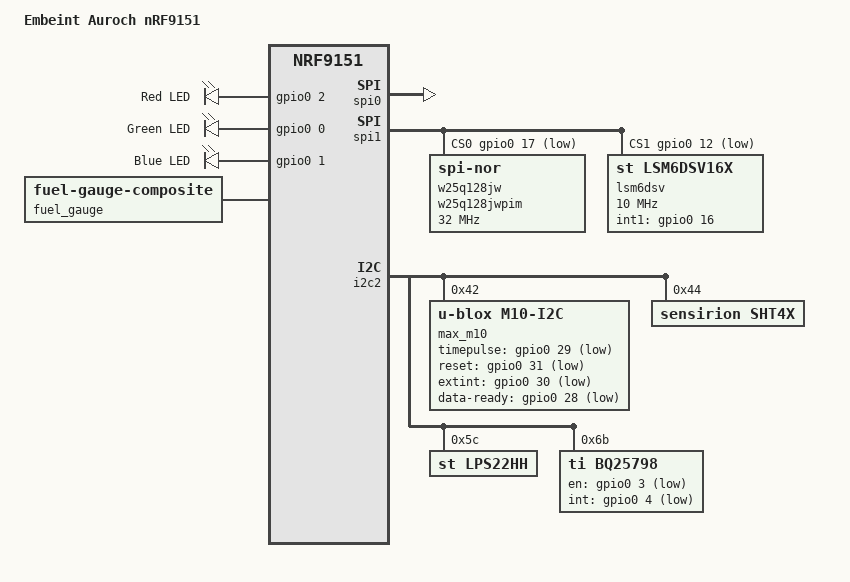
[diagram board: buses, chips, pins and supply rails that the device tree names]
/*
 * Copyright (c) 2025 Embeint Holdings Pty Ltd
 *
 * SPDX-License-Identifier: Apache-2.0
 */

#include "auroch_nrf9151_common-pinctrl.dtsi"
#include <zephyr/dt-bindings/battery/battery.h>
#include <zephyr/dt-bindings/input/input-event-codes.h>
#include <zephyr/dt-bindings/sensor/lps22hh.h>

/ {
	model = "Embeint Auroch nRF9151";
	compatible = "embeint,auroch-nrf9151";

	chosen {
		zephyr,console = &rtt0;
		zephyr,bt-hci = &hci_spi;
	};

	rtt0: rtt_chan0 {
		compatible = "segger,rtt-uart";
		status = "okay";
	};

	leds {
		compatible = "gpio-leds";
		led0: led_0 {
			gpios = <&gpio0 2 GPIO_ACTIVE_HIGH>;
			label = "Red LED";
		};
		led1: led_1 {
			gpios = <&gpio0 0 GPIO_ACTIVE_HIGH>;
			label = "Green LED";
		};
		led2: led_2 {
			gpios = <&gpio0 1 GPIO_ACTIVE_HIGH>;
			label = "Blue LED";
		};
	};

	fuel_gauge: fuel_gauge {
		compatible = "zephyr,fuel-gauge-composite";
		source-primary = <&bq25798>;
		device-chemistry = "lithium-ion-polymer";
		ocv-capacity-table-0 = <BATTERY_OCV_CURVE_LITHIUM_ION_POLYMER_DEFAULT>;
		charge-full-design-microamp-hours = <13400000>;
		fuel-gauge-channels;
	};

	aliases {
		led0 = &led0;
		led1 = &led1;
		led2 = &led2;
		fuel-gauge0 = &fuel_gauge;
		imu0 = &lsm6dsv;
		gnss = &max_m10;
		watchdog0 = &wdt0;
		environmental0 = &sht4x;
		environmental1 = &lps22hh;
	};
};

&gpiote {
	status = "okay";
};

&gpio0 {
	status = "okay";
	/* Every pin except the GNSS timepulse interrupt */
	sense-edge-mask = <0xdfffffff>;
};

&spi0 {
	compatible = "nordic,nrf-spim";
	status = "okay";
	cs-gpios = <&gpio0 22 GPIO_ACTIVE_LOW>;
	pinctrl-0 = <&spi0_default>;
	pinctrl-1 = <&spi0_sleep>;
	pinctrl-names = "default", "sleep";

	/* Nordic nRF54L15 (Ezurio BL54L15) */
	hci_spi: hci_node: bt-hci@0 {
		compatible = "zephyr,bt-hci-spi";
		reg = <0>;
		spi-max-frequency = <8000000>;
		reset-gpios = <&gpio0 20 (GPIO_ACTIVE_LOW)>;
		irq-gpios = <&gpio0 21 (GPIO_ACTIVE_HIGH | GPIO_PULL_DOWN)>;
		reset-assert-duration-ms = <1>;
		spi-cs-setup-delay-ns = <10000>;
		/* Additional GPIO is available here:
		 * extra-gpios = <&gpio0 19 0>;
		 */
	};
};

&spi1 {
	compatible = "nordic,nrf-spim";
	status = "okay";
	cs-gpios = <&gpio0 17 (GPIO_ACTIVE_LOW | GPIO_OPEN_DRAIN)>,
		   <&gpio0 12 (GPIO_ACTIVE_LOW | GPIO_OPEN_DRAIN)>;
	pinctrl-0 = <&spi1_default>;
	pinctrl-1 = <&spi1_sleep>;
	pinctrl-names = "default", "sleep";

	w25q128jw: w25q128jwpim@0 {
		compatible = "jedec,spi-nor";
		status = "okay";
		reg = <0>;
		spi-max-frequency = <32000000>;
		size = <134217728>;
		has-dpd;
		t-enter-dpd = <3000>;
		t-exit-dpd = <20000>;
		jedec-id = [ef 80 18];
	};

	lsm6dsv: lsm6dsv@1 {
		compatible = "st,lsm6dsv16x";
		status = "okay";
		reg = <1>;
		spi-max-frequency = <10000000>;
		int1-gpios = <&gpio0 16 GPIO_ACTIVE_HIGH>;
	};
};

&i2c2 {
	compatible = "nordic,nrf-twim";
	status = "okay";
	pinctrl-0 = <&i2c2_default>;
	pinctrl-1 = <&i2c2_sleep>;
	pinctrl-names = "default", "sleep";

	max_m10: max_m10@42 {
		compatible = "u-blox,m10-i2c";
		status = "okay";
		reg = <0x42>;
		timepulse-gpios = <&gpio0 29 GPIO_ACTIVE_LOW>;
		reset-gpios = <&gpio0 31 GPIO_ACTIVE_LOW>;
		extint-gpios = <&gpio0 30 GPIO_ACTIVE_LOW>;
		data-ready-gpios = <&gpio0 28 GPIO_ACTIVE_LOW>;
		data-ready-pio = <1>;
	};

	sht4x: sht4x@44 {
		compatible = "sensirion,sht4x";
		status = "okay";
		reg = <0x44>;
		repeatability = <2>;
	};

	lps22hh: lps22hh@5c {
		compatible = "st,lps22hh";
		status = "okay";
		reg = <0x5c>;
		odr = <LPS22HH_DT_ODR_POWER_DOWN>;
	};

	bq25798: bq25798@6b {
		compatible = "ti,bq25798";
		status = "okay";
		reg = <0x6b>;
		en-gpios = <&gpio0 3 GPIO_ACTIVE_LOW>;
		int-gpios = <&gpio0 4 (GPIO_ACTIVE_LOW | GPIO_PULL_UP)>;
		ts-rt1 = <5240>;
		ts-rt2 = <30310>;
		mppt-ratio = <81>;
		vac-ovp = <26>;
		input-current-limit = <999>;
		v-in-dpm = <3000>;
		acdrv1-en;
		acdrv2-en;
	};
};

/* Include default memory partition configuration file */
#include <vendor/nordic/nrf91xx_partition.dtsi>
